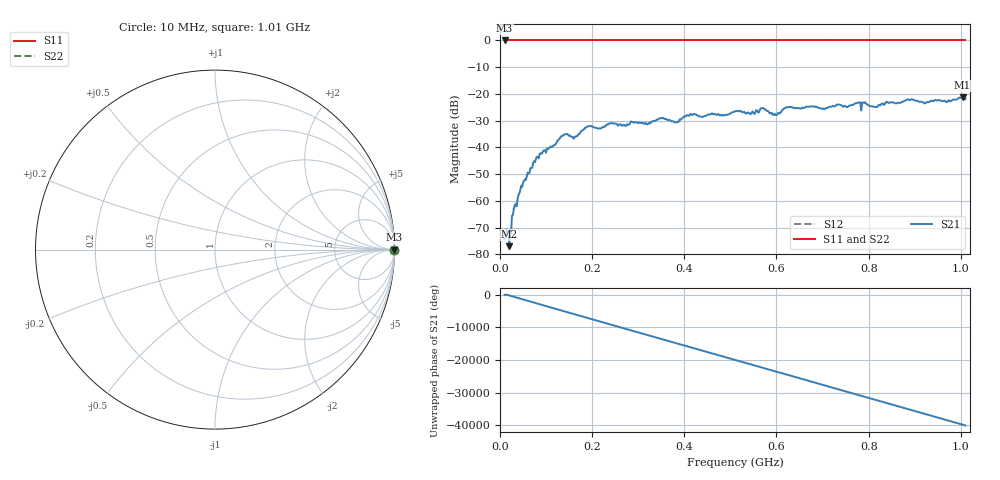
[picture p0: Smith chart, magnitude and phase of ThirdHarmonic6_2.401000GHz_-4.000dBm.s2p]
! 8/17/2025 3:57:34 AM
! C:\ANRITSUVNA\TEMP\TEMP.S2P
! CHANNEL.1
! TR.MEASUREMENT
! RAW.DATA
! RF.CORRECTION.OFF
! AVERAGING.OFF
! IF.BANDWIDTH: 5KHZ
! SWEEPTYPE:  FREQ.SWEEP(Linear)
! Reference Plane Port Info
! PORT:  PORT1  PORT2
! DISTANCE:  0  m  0  m
! TIME:  0  s  0  s
! PHASE.OFFSET:  0  deg.  0  deg.
! LOSS:  0  dB  0  dB
! REF.LOSS:  0  dB  0  dB
! REF.FREQ:  0  Hz  0  Hz
! Power Info
! POWER:  -20  dBm  -20  dBm
! EFF.POWER:  -20  dBm  -20  dBm
! SOURCE.ATTEN:  0  dB  0  dB
! TEST.ATTEN:  0  dB  0  dB
# GHZ S RI R 50.0
! FREQ.GHZ  S11RE  S11IM  S21RE  S21IM  S12RE  S12IM  S22RE  S22IM
!; PortSelection: Port_12
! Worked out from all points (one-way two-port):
!   501 points, 10 MHz to 1.01 GHz, reference 50 ohm
!   highest |S21| = -21.26 dB at 1.004 GHz (marker M1); lowest = -77.0 dB at 20 MHz (marker M2)
!   lowest |S11| = 0.0 dB at 10 MHz (marker M3)
!   |S11| at or under -10 dB: nowhere
!   |S22| runs from 0.0 to 0.0 dB; largest |S21 - S12| = 1.1
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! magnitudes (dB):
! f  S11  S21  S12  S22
! 10 MHz  0.0  -74.4  0.0  0.0
! 20 MHz  0.0  -77.0  0.0  0.0
! 24 MHz  0.0  -72.2  0.0  0.0
! 30 MHz  0.0  -62.9  0.0  0.0
! 42 MHz  0.0  -57.2  0.0  0.0
! 76 MHz  0.0  -45.5  0.0  0.0
! 136 MHz  0.0  -35.7  0.0  0.0
! 162 MHz  0.0  -36.0  0.0  0.0
! 178 MHz  0.0  -33.7  0.0  0.0
! 344 MHz  0.0  -29.5  0.0  0.0
! 382 MHz  0.0  -30.6  0.0  0.0
! 416 MHz  0.0  -27.8  0.0  0.0
! 510 MHz  0.0  -26.5  0.0  0.0
! 570 MHz  0.0  -25.2  0.0  0.0
! 596 MHz  0.0  -27.4  0.0  0.0
! 624 MHz  0.0  -25.1  0.0  0.0
! 678 MHz  0.0  -24.7  0.0  0.0
! 790 MHz  0.0  -23.3  0.0  0.0
! 814 MHz  0.0  -24.9  0.0  0.0
! 844 MHz  0.0  -23.4  0.0  0.0
! 1.004 GHz  0.0  -21.3  0.0  0.0
! 1.01 GHz  0.0  -21.9  0.0  0.0
